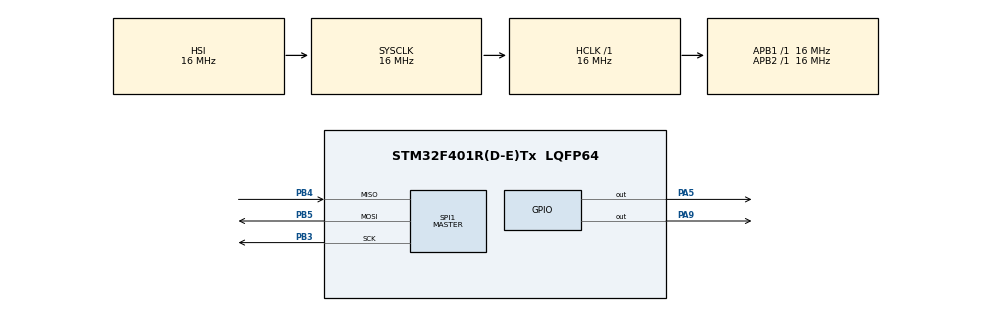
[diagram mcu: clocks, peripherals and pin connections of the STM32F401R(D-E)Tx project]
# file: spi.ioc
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Mcu.Family=STM32F4
Mcu.Name=STM32F401R(D-E)Tx
Mcu.Package=LQFP64
NVIC.PriorityGroup=NVIC_PRIORITYGROUP_4
PA5.Signal=GPIO_Output
PA9.Signal=GPIO_Output
PB3.Mode=Full_Duplex_Master
PB3.Signal=SPI1_SCK
PB4.Mode=Full_Duplex_Master
PB4.Signal=SPI1_MISO
PB5.Mode=Full_Duplex_Master
PB5.Signal=SPI1_MOSI
ProjectManager.HeapSize=0x200
ProjectManager.StackSize=0x400
ProjectManager.TargetToolchain=STM32CubeIDE
RCC.AHBFreq_Value=16000000
RCC.APB1Freq_Value=16000000
RCC.APB2Freq_Value=16000000
RCC.CortexFreq_Value=16000000
RCC.HSE_VALUE=25000000
RCC.HSI_VALUE=16000000
RCC.LSE_VALUE=32768
RCC.SYSCLKFreq_VALUE=16000000
RCC.VCOOutputFreq_Value=192000000
SPI1.BaudRatePrescaler=SPI_BAUDRATEPRESCALER_32
SPI1.Direction=SPI_DIRECTION_2LINES
SPI1.Mode=SPI_MODE_MASTER
SPI1.VirtualType=VM_MASTER
board=custom

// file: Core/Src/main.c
 /* USER CODE BEGIN Header */
/**
  ******************************************************************************
  * @file           : main.c
  * @brief          : Main program body
  ******************************************************************************
  * @attention
  *
  * <h2><center>&copy; Copyright (c) 2021 STMicroelectronics.
  * All rights reserved.</center></h2>
  *
  * This software component is licensed by ST under BSD 3-Clause license,
  * the "License"; You may not use this file except in compliance with the
  * License. You may obtain a copy of the License at:
  *                        opensource.org/licenses/BSD-3-Clause
  *
  ******************************************************************************
  */
/* USER CODE END Header */
#include "main.h"

SPI_HandleTypeDef hspi1;

void SystemClock_Config(void);
static void MX_GPIO_Init(void);
static void MX_SPI1_Init(void);

uint8_t spival[2];
int main(void)
{

  /* MCU Configuration--------------------------------------------------------*/

  /* Reset of all peripherals, Initializes the Flash interface and the Systick. */
  HAL_Init();

  /* Configure the system clock */
  SystemClock_Config();

  /* Initialize all configured peripherals */
  MX_GPIO_Init();
  MX_SPI1_Init();
  /* USER CODE BEGIN 2 */

  HAL_GPIO_WritePin(GPIOA,GPIO_PIN_9,GPIO_PIN_SET);
  HAL_Delay(10);//guranntee external device is deactivatged

  //to read data spi
  HAL_GPIO_WritePin(GPIOA,GPIO_PIN_9,GPIO_PIN_RESET);
  spival[0]=0x05;
  HAL_SPI_Transmit(&hspi1,spival,1,10);
  //now read regsiter content
  HAL_SPI_Receive(&hspi1,&spival[1],1,10);
  HAL_GPIO_WritePin(GPIOA,GPIO_PIN_9,GPIO_PIN_SET);

  HAL_GPIO_WritePin(GPIOA,GPIO_PIN_9,GPIO_PIN_RESET);
  spival[0]=0x05|0x20;
  spival[1]=0x67;
  HAL_SPI_Transmit(&hspi1,spival,2,10);
  HAL_GPIO_WritePin(GPIOA,GPIO_PIN_9,GPIO_PIN_SET);

  HAL_GPIO_WritePin(GPIOA,GPIO_PIN_9,GPIO_PIN_RESET);
  spival[0]=0x05;
  HAL_SPI_Transmit(&hspi1,spival,1,10);
  //now read regsiter content
  HAL_SPI_Receive(&hspi1,&spival[1],1,10);
  HAL_GPIO_WritePin(GPIOA,GPIO_PIN_9,GPIO_PIN_SET);
  /* USER CODE END 2 */

  /* Infinite loop */
  while (1)
  {

  }
}

void SystemClock_Config(void)
{
  RCC_OscInitTypeDef RCC_OscInitStruct = {0};
  RCC_ClkInitTypeDef RCC_ClkInitStruct = {0};

  /** Configure the main internal regulator output voltage
  */
  __HAL_RCC_PWR_CLK_ENABLE();
  __HAL_PWR_VOLTAGESCALING_CONFIG(PWR_REGULATOR_VOLTAGE_SCALE2);
  /** Initializes the RCC Oscillators according to the specified parameters
  * in the RCC_OscInitTypeDef structure.
  */
  RCC_OscInitStruct.OscillatorType = RCC_OSCILLATORTYPE_HSI;
  RCC_OscInitStruct.HSIState = RCC_HSI_ON;
  RCC_OscInitStruct.HSICalibrationValue = RCC_HSICALIBRATION_DEFAULT;
  RCC_OscInitStruct.PLL.PLLState = RCC_PLL_NONE;
  if (HAL_RCC_OscConfig(&RCC_OscInitStruct) != HAL_OK)
  {
    Error_Handler();
  }
  /** Initializes the CPU, AHB and APB buses clocks
  */
  RCC_ClkInitStruct.ClockType = RCC_CLOCKTYPE_HCLK|RCC_CLOCKTYPE_SYSCLK
                              |RCC_CLOCKTYPE_PCLK1|RCC_CLOCKTYPE_PCLK2;
  RCC_ClkInitStruct.SYSCLKSource = RCC_SYSCLKSOURCE_HSI;
  RCC_ClkInitStruct.AHBCLKDivider = RCC_SYSCLK_DIV1;
  RCC_ClkInitStruct.APB1CLKDivider = RCC_HCLK_DIV1;
  RCC_ClkInitStruct.APB2CLKDivider = RCC_HCLK_DIV1;

  if (HAL_RCC_ClockConfig(&RCC_ClkInitStruct, FLASH_LATENCY_0) != HAL_OK)
  {
    Error_Handler();
  }
}

static void MX_SPI1_Init(void)
{

  /* SPI1 parameter configuration*/
  hspi1.Instance = SPI1;
  hspi1.Init.Mode = SPI_MODE_MASTER;
  hspi1.Init.Direction = SPI_DIRECTION_2LINES;
  hspi1.Init.DataSize = SPI_DATASIZE_8BIT;
  hspi1.Init.CLKPolarity = SPI_POLARITY_LOW;
  hspi1.Init.CLKPhase = SPI_PHASE_1EDGE;
  hspi1.Init.NSS = SPI_NSS_SOFT;
  hspi1.Init.BaudRatePrescaler = SPI_BAUDRATEPRESCALER_32;
  hspi1.Init.FirstBit = SPI_FIRSTBIT_MSB;
  hspi1.Init.TIMode = SPI_TIMODE_DISABLE;
  hspi1.Init.CRCCalculation = SPI_CRCCALCULATION_DISABLE;
  hspi1.Init.CRCPolynomial = 10;
  if (HAL_SPI_Init(&hspi1) != HAL_OK)
  {
    Error_Handler();
  }

}

static void MX_GPIO_Init(void)
{
  GPIO_InitTypeDef GPIO_InitStruct = {0};

  /* GPIO Ports Clock Enable */
  __HAL_RCC_GPIOA_CLK_ENABLE();
  __HAL_RCC_GPIOB_CLK_ENABLE();

  /*Configure GPIO pin Output Level */
  HAL_GPIO_WritePin(GPIOA, GPIO_PIN_5|GPIO_PIN_9, GPIO_PIN_RESET);

  /*Configure GPIO pins : PA5 PA9 */
  GPIO_InitStruct.Pin = GPIO_PIN_5|GPIO_PIN_9;
  GPIO_InitStruct.Mode = GPIO_MODE_OUTPUT_PP;
  GPIO_InitStruct.Pull = GPIO_NOPULL;
  GPIO_InitStruct.Speed = GPIO_SPEED_FREQ_LOW;
  HAL_GPIO_Init(GPIOA, &GPIO_InitStruct);

}

void Error_Handler(void)
{
  __disable_irq();
  while (1)
  {
  }
}

/************************ (C) COPYRIGHT STMicroelectronics *****END OF FILE****/
